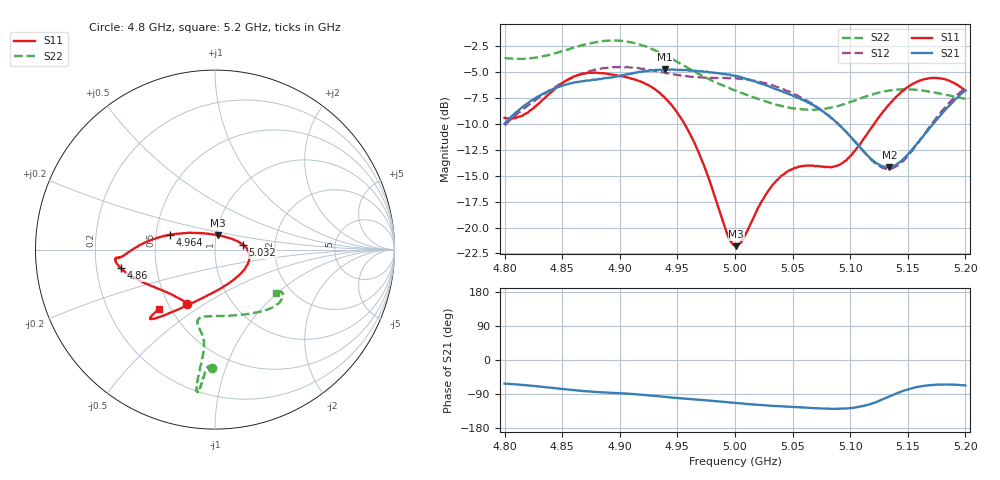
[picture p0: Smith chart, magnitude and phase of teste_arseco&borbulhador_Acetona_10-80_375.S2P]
! Network Analyzer HP8722D
! Hewlett-Packard
! Data name: Linha & Wilkinson
! Saver's name: Rodrigo Anjos
! Comments: Teste da utilização de aquisição
! continua pelo VNA HP8722D
! Time and date: 17/4/2025 17:29
!  Frequency  S11  S21  S12  S22
# HZ  S  MA R 50
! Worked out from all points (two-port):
!   401 points, 4.8 GHz to 5.2 GHz, reference 50 ohm
!   highest |S21| = -4.75 dB at 4.939 GHz (marker M1); lowest = -14.2 dB at 5.134 GHz (marker M2)
!   |S21| within 3 dB of the highest: 4.823 GHz to 5.06 GHz (236.7 MHz wide, 4.79 % of centre); 5.190337 GHz to end of sweep
!   lowest |S11| = -21.8 dB at 5.001 GHz (marker M3), VSWR 1.18, Z = 50.9 + j8.18 ohm
!   |S11| at or under -10 dB: 4.956 GHz to 5.121 GHz (164.6 MHz wide, 3.27 % of centre)
!   |S22| runs from -8.6 to -1.9 dB; largest |S21 - S12| = 0.87
!   S11 on the Smith chart (normalised r, x): 4.8 GHz: 0.62, -0.42; 4.86 GHz: 0.31, -0.09; 4.964 GHz: 0.59, +0.11; 5.032 GHz: 1.37, +0.08; 5.2 GHz: 0.43, -0.36
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4.8e9  0.3381 -117.1  0.3172 -62.4  0.3114 -176.7  0.6585 -91.5
4.818e9  0.3533 -136.4  0.3904 -66.5  0.3795 -176.4  0.6523 -93.1
4.86e9  0.5351 -168.8  0.5001 -79.6  0.5328 -179.8  0.7367 -95.5
4.867e9  0.5502 -171.4  0.5077 -81.6  0.5514 179.0  0.7583 -95.8
4.9e9  0.539 -175.4  0.5387 -87.7  0.5956 173.0  0.7968 -97.3
4.934e9  0.4493 179.1  0.5765 -95.8  0.5668 169.8  0.7011 -97.4
4.939e9  0.4239 177.0  0.5789 -97.1  0.5596 169.8  0.6803 -97.3
4.964e9  0.2622 161.4  0.5702 -103.9  0.5332 171.8  0.5693 -96.4
4.975e9  0.1865 150.3  0.5649 -106.5  0.5273 172.9  0.5284 -96.7
4.993e9  0.09401 111.2  0.5483 -111.1  0.5269 174.0  0.4764 -98.8
5e9  0.08179 83.6  0.539 -113.2  0.5251 174.0  0.4589 -100.2
5.001e9  0.08133 79.3  0.5393 -113.5  0.5247 174.1  0.4574 -100.5
5.007e9  0.08791 56.1  0.5268 -115.0  0.52 174.0  0.4438 -101.6
5.032e9  0.1584 9.8  0.4737 -120.7  0.4864 172.8  0.3977 -103.4
5.048e9  0.1894 -5.1  0.4379 -123.3  0.45 172.1  0.3779 -99.0
5.067e9  0.1991 -25.5  0.3914 -126.5  0.3963 172.0  0.3697 -88.2
5.095e9  0.2085 -73.8  0.2944 -128.2  0.2956 174.6  0.3938 -66.6
5.12e9  0.3124 -111.2  0.2101 -113.9  0.2078 -169.0  0.4395 -50.0
5.134e9  0.3937 -121.9  0.1958 -96.3  0.192 -149.3  0.4587 -43.4
5.146e9  0.4581 -127.3  0.2138 -81.4  0.2092 -132.0  0.4648 -38.9
5.168e9  0.5245 -132.4  0.2971 -66.8  0.3013 -113.1  0.4524 -33.6
5.2e9  0.4571 -133.4  0.4602 -67.1  0.4711 -109.3  0.4172 -35.1
